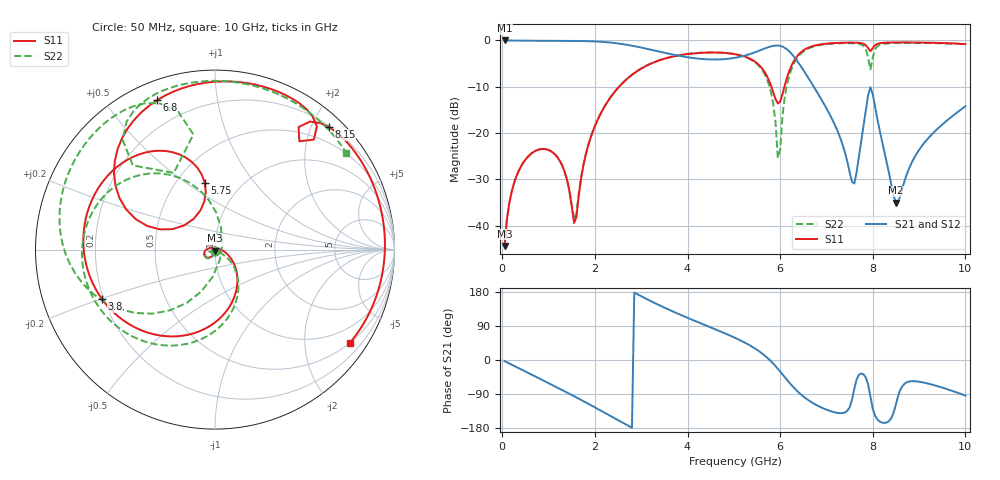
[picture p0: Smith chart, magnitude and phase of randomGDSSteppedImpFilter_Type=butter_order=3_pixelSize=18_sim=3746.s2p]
! freq	dB(S11)	phase(S11)	dB(S12)	phase(S12)
!  dB(S21)	phase(S21)	dB(S22)	phase(S22)
!S-par simulation data
#  GHz  S  DB  R 50
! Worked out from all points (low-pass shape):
!   200 points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, 50 MHz to 10 GHz, reference 50 ohm
!   highest |S21| = -0.01 dB at 50 MHz (marker M1); lowest = -35.1 dB at 8.5 GHz (marker M2)
!   |S21| within 3 dB of the highest: start of sweep to 3.658 GHz; 5.327 GHz to 6.257 GHz (929.3 MHz wide, 16 % of centre)
!   lowest |S11| = -44.4 dB at 50 MHz (marker M3), VSWR 1.01, Z = 50 - j0.602 ohm
!   |S11| at or under -10 dB: start of sweep to 2.522 GHz; 5.811 GHz to 6.092 GHz (281.8 MHz wide, 4.74 % of centre)
!   |S22| runs from -44.4 to -0.5 dB; largest |S21 - S12| = 0
!   S11 on the Smith chart (normalised r, x): 50 MHz: 1.00, -0.01; 3.8 GHz: 0.19, -0.20; 5.75 GHz: 0.68, +0.59; 6.8 GHz: 0.08, +0.68; 8.15 GHz: 0.22, +2.27; 10 GHz: 0.50, -3.13
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0.05  -44.41 -89.9  -0.01 -3.1  -0.01 -3.1  -44.43 -88.9
0.2  -32.79 -102.4  -0.02 -12.3  -0.02 -12.3  -32.77 -100.4
0.55  -25.15 -126.7  -0.06 -33.7  -0.06 -33.7  -25.15 -121.1
1.2  -25.36 -173.6  -0.10 -73.6  -0.10 -73.6  -25.33 -154.3
1.55  -39.41 99.4  -0.11 -95.6  -0.11 -95.6  -38.70 -109.7
1.75  -27.07 -7.7  -0.14 -108.5  -0.14 -108.5  -26.93 -32.3
2.55  -9.69 -75.7  -0.72 -162.1  -0.72 -162.1  -9.65 -70.5
3.4  -4.27 -133.1  -2.44 144.0  -2.44 144.0  -4.24 -120.1
3.8  -3.25 -156.5  -3.29 121.7  -3.29 121.7  -3.22 -140.5
5.05  -3.01 137.0  -3.71 57.1  -3.71 57.1  -3.02 159.9
5.75  -8.45 98.7  -1.44 2.8  -1.44 2.8  -9.33 104.4
5.95  -13.62 124.8  -1.10 -22.9  -1.10 -22.9  -25.38 40.1
6.2  -6.50 159.0  -2.39 -59.9  -2.39 -59.9  -7.51 -126.5
6.7  -1.23 118.3  -9.57 -113.1  -9.57 -113.1  -1.38 177.1
6.8  -0.99 111.3  -11.21 -119.9  -11.21 -119.9  -1.11 169.9
7.6  -0.48 65.8  -30.91 -76.7  -30.91 -76.7  -0.62 125.8
7.85  -1.01 50.4  -15.10 -46.2  -15.10 -46.2  -1.85 105.2
7.95  -2.33 52.1  -10.12 -97.6  -10.12 -97.6  -6.29 118.3
8.15  -0.61 47.1  -19.46 -162.4  -19.46 -162.4  -0.96 120.4
8.35  -0.45 36.7  -28.61 -161.1  -28.61 -161.1  -0.61 108.4
8.5  -0.43 29.7  -35.05 -117.3  -35.05 -117.3  -0.56 101.3
10  -0.79 -34.7  -14.19 -93.9  -14.19 -93.9  -0.83 36.5
